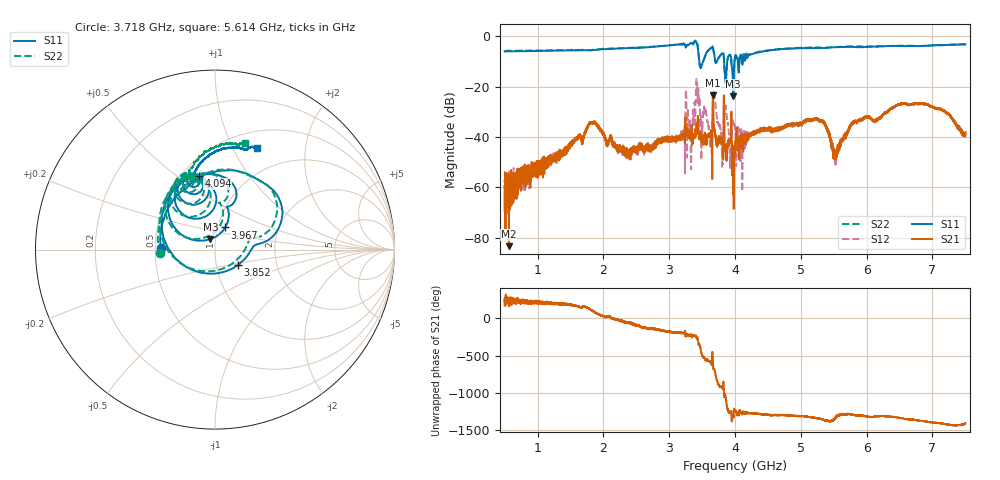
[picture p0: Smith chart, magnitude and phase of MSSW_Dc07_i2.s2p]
!Keysight Technologies,M9374A,MY55442783,A.12.55.05
!Date: Thursday, May 20, 2021 15:35:14
!Correction: S11(Full 2 Port(1,2))
!S21(Full 2 Port(1,2))
!S12(Full 2 Port(1,2))
!S22(Full 2 Port(1,2))
!S2P File: Measurements: S11, S21, S12, S22:
# Hz S  RI  R 50
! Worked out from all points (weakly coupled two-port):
!   7001 points, 500 MHz to 7.5 GHz, reference 50 ohm
!   highest |S21| = -23.30 dB at 3.664 GHz (marker M1); lowest = -83.4 dB at 565 MHz (marker M2)
!   lowest |S11| = -23.9 dB at 3.974 GHz (marker M3), VSWR 1.14, Z = 47.2 + j5.51 ohm
!   |S11| at or under -10 dB: 3.457 GHz to 3.517 GHz (60.4 MHz wide, 1.73 % of centre); 3.834 GHz to 3.881 GHz (47.1 MHz wide, 1.22 % of centre); 3.944 GHz to 3.992 GHz (47.49 MHz wide, 1.2 % of centre) (the widest 3 of 6)
!   |S22| runs from -21.5 to -1.6 dB; largest |S21 - S12| = 0.13
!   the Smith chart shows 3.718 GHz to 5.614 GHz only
!   S11 on the Smith chart (normalised r, x): 3.718 GHz: 0.54, +0.01; 3.852 GHz: 1.27, -0.22; 3.967 GHz: 1.08, +0.27; 4.094 GHz: 0.61, +0.60; 5.614 GHz: 0.69, +1.25
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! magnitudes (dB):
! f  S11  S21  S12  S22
! 500 MHz  -6.0  -59.4  -57.3  -5.8
! 565 MHz  -6.0  -83.4  -56.1  -5.8
! 1.667 GHz  -5.5  -40.8  -40.9  -5.4
! 1.845 GHz  -5.5  -34.4  -34.2  -5.4
! 2.834 GHz  -4.0  -41.9  -41.9  -3.9
! 3.326 GHz  -2.6  -39.4  -40.1  -2.7
! 3.434 GHz  -4.1  -32.9  -26.5  -4.1
! 3.616 GHz  -4.9  -38.8  -41.2  -5.0
! 3.664 GHz  -4.3  -23.3  -32.6  -4.3
! 3.718 GHz  -10.4  -41.9  -30.8  -10.2
! 3.8 GHz  -6.9  -41.2  -45.0  -7.0
! 3.852 GHz  -16.2  -44.7  -27.6  -17.1
! 3.967 GHz  -17.3  -46.6  -33.5  -15.4
! 3.974 GHz  -23.9  -51.4  -33.8  -21.2
! 4 GHz  -8.2  -44.9  -37.2  -8.3
! 4.094 GHz  -7.5  -39.3  -38.1  -7.2
! 5.167 GHz  -4.7  -33.3  -33.6  -4.5
! 5.519 GHz  -4.3  -47.4  -47.3  -4.3
! 5.614 GHz  -4.3  -41.7  -42.7  -4.2
! 6.334 GHz  -3.9  -29.4  -29.5  -3.8
! 6.912 GHz  -3.8  -26.8  -27.1  -3.8
! 7.5 GHz  -3.2  -38.1  -38.9  -3.2
